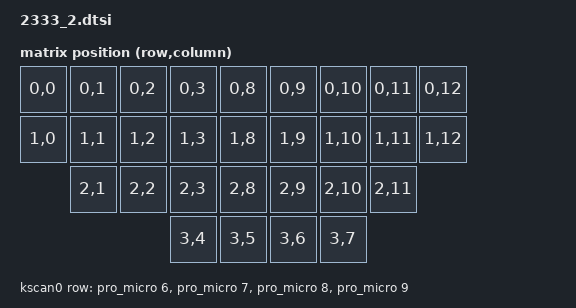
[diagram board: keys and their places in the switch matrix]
/*
 * Copyright (c) 2020 The ZMK Contributors
 *
 * SPDX-License-Identifier: MIT
 */

#include <dt-bindings/zmk/matrix_transform.h>

/*
Based on nice!nano v2 pinout
D# corresponds to ProMicro pinout

Rows: {
    Top:      D6, P1.00
    Home:     D7, P0.11
    Bottom:   D8, P1.06
    Thumb:    D9, P1.06
}
Columns: {
    Pinky:    D21, P0.31
    Ring:     D20, P0.29
    Middle:   D19, P0.02
    Index:    D18, P1.15
    Inner:    D15, P1.13
    T. Outer: D16, P0.10
    T. Inner: D10, P0.09
}
*/

/ {

	chosen {
        // zephyr,display = &oled;
        zmk,kscan = &kscan0;
        zmk,matrix_transform = &default_transform;
    };

    default_transform: keymap_transform_0 {
        compatible = "zmk,matrix-transform";
        columns = <12>;
        rows = <4>;

		map = <
            RC(0,0) RC(0,1) RC(0,2) RC(0,3)                                  RC(0,8) RC(0,9) RC(0,10) RC(0,11) RC(0,12)
            RC(1,0) RC(1,1) RC(1,2) RC(1,3)                                  RC(1,8) RC(1,9) RC(1,10) RC(1,11) RC(1,12)
                    RC(2,1) RC(2,2) RC(2,3)                                  RC(2,8) RC(2,9) RC(2,10) RC(2,11)
                                            RC(3,4) RC(3,5) RC(3,6) RC(3,7)
        >;
	};

	kscan0: kscan {
        compatible = "zmk,kscan-gpio-matrix";
        diode-direction = "col2row";
        row-gpios
            = <&pro_micro 6 (GPIO_ACTIVE_HIGH | GPIO_PULL_DOWN)> // ROW0
            , <&pro_micro 7 (GPIO_ACTIVE_HIGH | GPIO_PULL_DOWN)> // ROW1
            , <&pro_micro 8 (GPIO_ACTIVE_HIGH | GPIO_PULL_DOWN)> // ROW2
            , <&pro_micro 9 (GPIO_ACTIVE_HIGH | GPIO_PULL_DOWN)> // ROW3
        ;
        };
};
